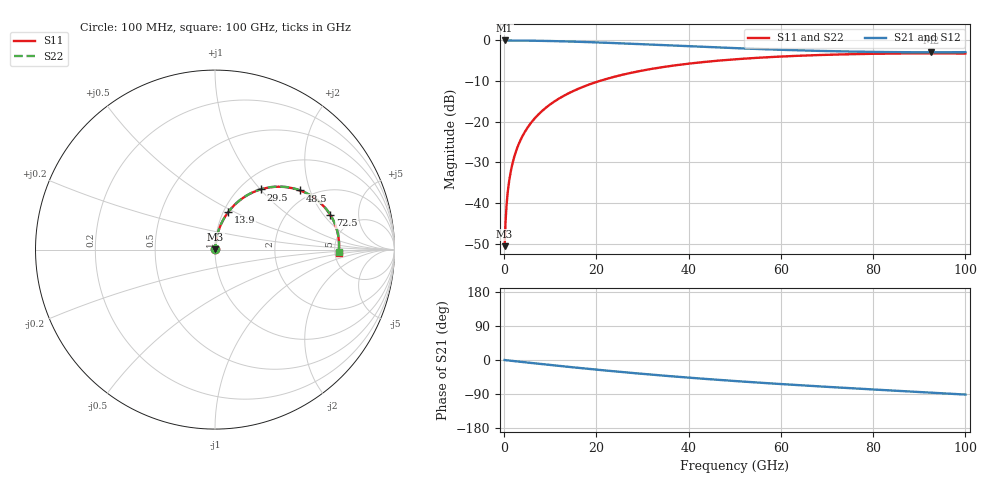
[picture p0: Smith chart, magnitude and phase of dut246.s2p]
! Touchstone file exported from HFSS 2026.1.0
!  File:  C:/ffzhzh/LocalFiles/Ansys_Project_Files/temp_train_RDL_246_1783501406_44152.aedt
!  Generated:  05:04:32 PM Jul  8, 2026
!  Design:  RDL
!  Project:  temp_train_RDL_246_1783501406_44152
! Variables:
!  h_bsmrdl = 2um
!  h_ox = 20um
!  h_rdl = 5um
!  h_sub = 80um
!  h_tmrdl = 2.69um
!  h_tsv = 80um
!  h_via = 3um
!  l_bsmrdl = 300um
!  l_sub = 679.75um
!  l_tmrdl = 279.75um
!  m_sub = 200um
!  pitch = 58.09um
!  r_tsv = 6um
!  s_tmrdl = 10um
!  w_bsmrdl = 18um
!  w_sub = 500um
!  w_tmrdl = 16.99um
!  x_tsv_center1 = 288.245um
!  x_tsv_center2 = 606.245um
!  x_tsv_center3 = 902.985um
!  x_tsv_center4 = 1220.985um
!  x_tsv_center5 = 1517.725um
!  x_tsv_center6 = 1835.725um
# GHz S MA R 50.000000
! Terminal data exported
! Port[1] = TM_RDL1_1_T1
! Port[2] = TM_RDL1_1_T2
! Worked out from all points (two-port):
!   1000 points, 100 MHz to 100 GHz, reference 50 ohm
!   highest |S21| = -0.02 dB at 100 MHz (marker M1); lowest = -2.9 dB at 92.5 GHz (marker M2)
!   |S21| within 3 dB of the highest: start of sweep to end of sweep
!   lowest |S11| = -50.6 dB at 100 MHz (marker M3), VSWR 1.01, Z = 50.2 + j0.178 ohm
!   |S11| at or under -10 dB: start of sweep to 20.64 GHz
!   |S22| runs from -50.6 to -3.2 dB; largest |S21 - S12| = 5.1e-15
!   S11 on the Smith chart (normalised r, x): 100 MHz: 1.00, +0.00; 13.9 GHz: 1.06, +0.47; 29.5 GHz: 1.23, +1.00; 48.5 GHz: 1.73, +1.70; 72.5 GHz: 3.34, +2.34; 100 GHz: 5.39, -0.43
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0.1  0.00296 36.7  0.9976 -0.1  0.9976 -0.1  0.00296 36.7
! Gamma 0 0 0 0
! Port Impedance 50 0 50 0
0.4  0.007438 69.6  0.9974 -0.5  0.9974 -0.5  0.007438 69.6
0.8  0.014 77.6  0.9972 -1.1  0.9972 -1.1  0.014 77.6
1.3  0.02226 80.8  0.9969 -1.7  0.9969 -1.7  0.02226 80.8
1.7  0.02889 81.9  0.9966 -2.3  0.9966 -2.3  0.02889 81.9
2.2  0.0372 82.4  0.9963 -2.9  0.9963 -2.9  0.0372 82.4
3.5  0.05878 82.2  0.995 -4.7  0.995 -4.7  0.05878 82.2
5.3  0.08844 80.6  0.9925 -7.0  0.9925 -7.0  0.08844 80.6
7.6  0.1257 78.1  0.9879 -10.0  0.9879 -10.0  0.1257 78.1
10.4  0.1699 74.7  0.9806 -13.6  0.9806 -13.6  0.1699 74.7
13.9  0.2227 70.5  0.9692 -18.0  0.9692 -18.0  0.2227 70.5
16.8  0.2644 67.0  0.9581 -21.6  0.9581 -21.6  0.2644 67.1
22.6  0.3412 60.3  0.9327 -28.4  0.9327 -28.4  0.3412 60.4
29.5  0.4207 52.8  0.8993 -36.0  0.8993 -36.0  0.4207 53.0
33.4  0.46 48.8  0.8798 -40.1  0.8798 -40.1  0.46 49.0
48.5  0.5761 34.9  0.809 -54.2  0.809 -54.2  0.5761 35.1
50.1  0.5855 33.6  0.8024 -55.5  0.8024 -55.5  0.5854 33.8
66.7  0.6558 20.8  0.7469 -68.5  0.7469 -68.5  0.6558 21.1
72.5  0.6708 16.7  0.7337 -72.6  0.7337 -72.6  0.6708 17.0
83.4  0.6878 9.3  0.718 -80.1  0.718 -80.1  0.6878 9.6
92.5  0.692 3.2  0.714 -86.2  0.714 -86.2  0.692 3.6
100  0.6888 -1.8  0.7167 -91.2  0.7167 -91.2  0.6888 -1.3
